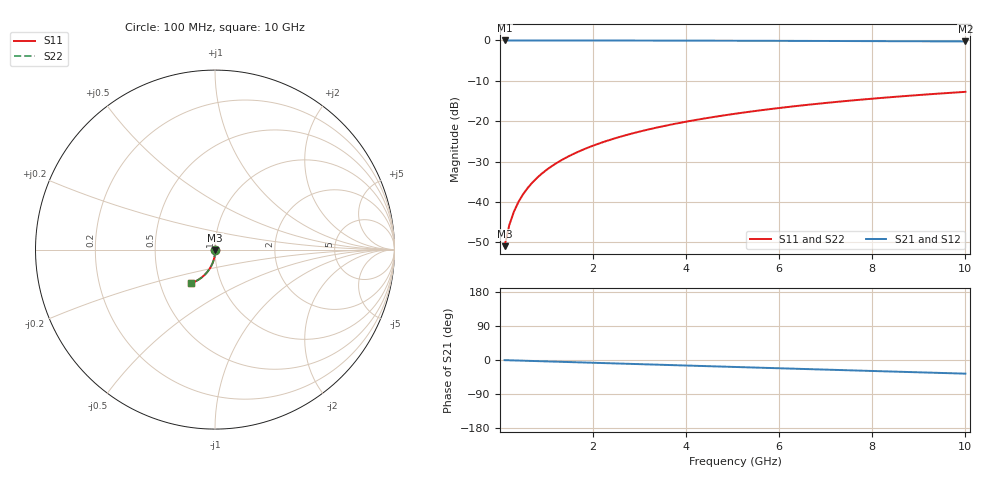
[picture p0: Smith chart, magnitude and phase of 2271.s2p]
# Hz S RI R 50.00
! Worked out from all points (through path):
!   100 points, 100 MHz to 10 GHz, reference 50 ohm
!   highest |S21| = -0.01 dB at 100 MHz (marker M1); lowest = -0.3 dB at 10 GHz (marker M2)
!   group delay of S21, straight-line fit = 10 ps
!   lowest |S11| = -50.9 dB at 100 MHz (marker M3), VSWR 1.01, Z = 50.1 - j0.251 ohm
!   |S11| at or under -10 dB: start of sweep to end of sweep
!   |S22| runs from -50.9 to -12.7 dB; largest |S21 - S12| = 0
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1e8  0.00135 -0.00251  0.9986 -0.00636  0.9986 -0.00636  0.00135 -0.00251
2e8  0.0013 -0.00501  0.9985 -0.0127  0.9985 -0.0127  0.0013 -0.00501
3e8  0.00123 -0.00751  0.9984 -0.0191  0.9984 -0.0191  0.00123 -0.00751
4e8  0.00112 -0.01  0.9982 -0.0254  0.9982 -0.0254  0.00112 -0.01
5e8  0.000974 -0.0125  0.998 -0.0318  0.998 -0.0318  0.000974 -0.0125
6e8  0.000799 -0.015  0.9977 -0.0381  0.9977 -0.0381  0.000799 -0.015
7e8  0.000591 -0.0175  0.9974 -0.0445  0.9974 -0.0445  0.000591 -0.0175
8e8  0.000352 -0.02  0.9971 -0.0508  0.9971 -0.0508  0.000352 -0.02
9e8  8.1e-05 -0.0225  0.9967 -0.0572  0.9967 -0.0572  8.1e-05 -0.0225
1.1e9  -0.000557 -0.0275  0.9957 -0.0699  0.9957 -0.0699  -0.000557 -0.0275
1.4e9  -0.00175 -0.0349  0.9939 -0.0889  0.9939 -0.0889  -0.00175 -0.0349
1.8e9  -0.00378 -0.0447  0.9909 -0.1141  0.9909 -0.1141  -0.00378 -0.0447
2.1e9  -0.00563 -0.052  0.9882 -0.1329  0.9882 -0.1329  -0.00563 -0.052
2.5e9  -0.00852 -0.0616  0.9839 -0.1579  0.9839 -0.1579  -0.00852 -0.0616
2.9e9  -0.0119 -0.071  0.9789 -0.1828  0.9789 -0.1828  -0.0119 -0.071
3.4e9  -0.0168 -0.0825  0.9716 -0.2135  0.9716 -0.2135  -0.0168 -0.0825
4.2e9  -0.0261 -0.1002  0.9577 -0.262  0.9577 -0.262  -0.0261 -0.1002
5.1e9  -0.0385 -0.1188  0.9389 -0.3152  0.9389 -0.3152  -0.0385 -0.1188
5.9e9  -0.0513 -0.134  0.9195 -0.3612  0.9195 -0.3612  -0.0513 -0.134
6.7e9  -0.0654 -0.1478  0.8976 -0.4056  0.8976 -0.4056  -0.0654 -0.1478
8.4e9  -0.0994 -0.1719  0.8438 -0.4947  0.8438 -0.4947  -0.0994 -0.1719
1e10  -0.1348 -0.1874  0.7852 -0.571  0.7852 -0.571  -0.1348 -0.1874
